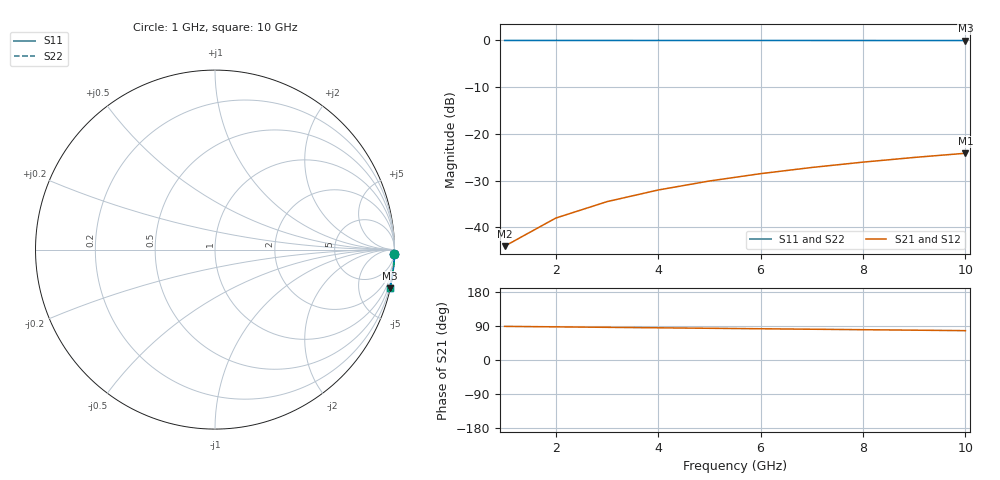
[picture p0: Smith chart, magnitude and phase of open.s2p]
! Created Thu Sep  9 09:02:46 2021
# hz S ma R 50
! 2 Port Network Data from SP1.SP block
! freq  magS11  angS11  magS21  angS21  magS12  angS12  magS22  angS22
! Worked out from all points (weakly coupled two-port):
!   10 points, 1 GHz to 10 GHz, reference 50 ohm
!   highest |S21| = -24.15 dB at 10 GHz (marker M1); lowest = -44.0 dB at 1 GHz (marker M2)
!   lowest |S11| = 0.0 dB at 10 GHz (marker M3)
!   |S11| at or under -10 dB: nowhere
!   |S22| runs from 0.0 to 0.0 dB; largest |S21 - S12| = 0
1e9  1 -1.3  0.006282 88.7  0.006282 88.7  1 -1.3
2e9  0.9999 -2.5  0.01256 87.5  0.01256 87.5  0.9999 -2.5
3e9  0.9998 -3.8  0.01883 86.2  0.01883 86.2  0.9998 -3.8
4e9  0.9997 -5.0  0.02508 85.0  0.02508 85.0  0.9997 -5.0
5e9  0.9995 -6.3  0.03131 83.7  0.03131 83.7  0.9995 -6.3
6e9  0.9993 -7.5  0.03752 82.5  0.03752 82.5  0.9993 -7.5
7e9  0.999 -8.8  0.0437 81.2  0.0437 81.2  0.999 -8.8
8e9  0.9988 -10.0  0.04985 80.0  0.04985 80.0  0.9988 -10.0
9e9  0.9984 -11.3  0.05596 78.7  0.05596 78.7  0.9984 -11.3
1e10  0.9981 -12.5  0.06202 77.5  0.06202 77.5  0.9981 -12.5
